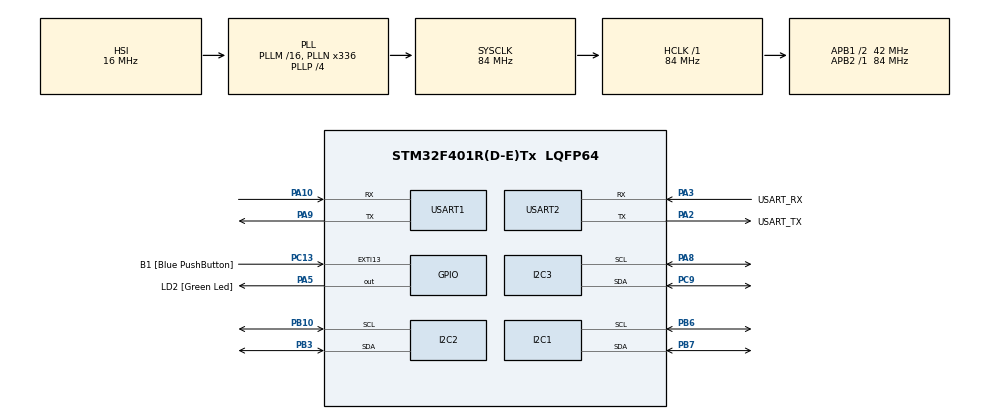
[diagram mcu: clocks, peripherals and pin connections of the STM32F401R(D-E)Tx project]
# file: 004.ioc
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Mcu.Family=STM32F4
Mcu.Name=STM32F401R(D-E)Tx
Mcu.Package=LQFP64
NVIC.PriorityGroup=NVIC_PRIORITYGROUP_4
NVIC.TIM1_BRK_TIM9_IRQn=true\:1\:0\:true\:false\:true\:true\:true\:true
NVIC.TIM1_CC_IRQn=true\:1\:0\:true\:false\:true\:true\:true\:true
NVIC.TIM1_TRG_COM_TIM11_IRQn=true\:1\:0\:true\:false\:true\:true\:true\:true
NVIC.TIM1_UP_TIM10_IRQn=true\:1\:0\:true\:false\:true\:true\:true\:true
NVIC.TIM2_IRQn=true\:1\:0\:true\:false\:true\:true\:true\:true
NVIC.TIM3_IRQn=true\:1\:0\:true\:false\:true\:true\:true\:true
NVIC.TIM4_IRQn=true\:1\:0\:true\:false\:true\:true\:true\:true
NVIC.USART1_IRQn=true\:0\:0\:false\:false\:true\:true\:true\:true
PA10.Mode=Asynchronous
PA10.Signal=USART1_RX
PA13.GPIO_Label=TMS
PA13.Mode=Serial_Wire
PA13.Signal=SYS_JTMS-SWDIO
PA14.GPIO_Label=TCK
PA14.Mode=Serial_Wire
PA14.Signal=SYS_JTCK-SWCLK
PA2.GPIO_Label=USART_TX
PA2.GPIO_Mode=GPIO_MODE_AF_PP
PA2.GPIO_PuPd=GPIO_NOPULL
PA2.GPIO_Speed=GPIO_SPEED_FREQ_LOW
PA2.Mode=Asynchronous
PA2.Signal=USART2_TX
PA3.GPIO_Label=USART_RX
PA3.GPIO_Mode=GPIO_MODE_AF_PP
PA3.GPIO_PuPd=GPIO_NOPULL
PA3.GPIO_Speed=GPIO_SPEED_FREQ_LOW
PA3.Mode=Asynchronous
PA3.Signal=USART2_RX
PA5.GPIO_Label=LD2 [Green Led]
PA5.GPIO_Mode=GPIO_MODE_OUTPUT_PP
PA5.GPIO_PuPd=GPIO_NOPULL
PA5.GPIO_Speed=GPIO_SPEED_FREQ_LOW
PA5.Signal=GPIO_Output
PA8.Mode=I2C
PA8.Signal=I2C3_SCL
PA9.Mode=Asynchronous
PA9.Signal=USART1_TX
PB10.Mode=I2C
PB10.Signal=I2C2_SCL
PB3.Mode=I2C
PB3.Signal=I2C2_SDA
PB6.Mode=I2C
PB6.Signal=I2C1_SCL
PB7.Mode=I2C
PB7.Signal=I2C1_SDA
PC13-ANTI_TAMP.GPIO_Label=B1 [Blue PushButton]
PC13-ANTI_TAMP.GPIO_ModeDefaultEXTI=GPIO_MODE_IT_FALLING
PC13-ANTI_TAMP.GPIO_PuPd=GPIO_NOPULL
PC13-ANTI_TAMP.Signal=GPXTI13
PC14-OSC32_IN.Mode=LSE-External-Oscillator
PC14-OSC32_IN.Signal=RCC_OSC32_IN
PC15-OSC32_OUT.Mode=LSE-External-Oscillator
PC15-OSC32_OUT.Signal=RCC_OSC32_OUT
PC9.Mode=I2C
PC9.Signal=I2C3_SDA
PH0\ -\ OSC_IN.Mode=HSE-External-Clock-Source
PH0\ -\ OSC_IN.Signal=RCC_OSC_IN
PH1\ -\ OSC_OUT.Mode=HSE-External-Clock-Source
PH1\ -\ OSC_OUT.Signal=RCC_OSC_OUT
ProjectManager.HeapSize=0x200
ProjectManager.StackSize=0x400
ProjectManager.TargetToolchain=STM32CubeIDE
RCC.48MHZClocksFreq_Value=48000000
RCC.AHBFreq_Value=84000000
RCC.APB1CLKDivider=RCC_HCLK_DIV2
RCC.APB1Freq_Value=42000000
RCC.APB1TimFreq_Value=84000000
RCC.APB2Freq_Value=84000000
RCC.APB2TimFreq_Value=84000000
RCC.CortexFreq_Value=84000000
RCC.HCLKFreq_Value=84000000
RCC.HSE_VALUE=8000000
RCC.HSI_VALUE=16000000
RCC.PLLN=336
RCC.PLLP=RCC_PLLP_DIV4
RCC.PLLQ=7
RCC.SYSCLKFreq_VALUE=84000000
RCC.SYSCLKSource=RCC_SYSCLKSOURCE_PLLCLK
RCC.VCOOutputFreq_Value=336000000
TIM1.AutoReloadPreload=TIM_AUTORELOAD_PRELOAD_ENABLE
TIM1.Period=5999
TIM1.Prescaler=42000
TIM2.AutoReloadPreload=TIM_AUTORELOAD_PRELOAD_ENABLE
TIM2.Period=999
TIM2.Prescaler=42000
TIM3.AutoReloadPreload=TIM_AUTORELOAD_PRELOAD_ENABLE
TIM3.Period=9999
TIM3.Prescaler=42000
TIM4.AutoReloadPreload=TIM_AUTORELOAD_PRELOAD_ENABLE
TIM4.Period=1999
TIM4.Prescaler=42000
USART1.VirtualMode=VM_ASYNC
USART2.VirtualMode=VM_ASYNC
VP_TIM1_VS_ClockSourceINT.Mode=Internal
VP_TIM2_VS_ClockSourceINT.Mode=Internal
VP_TIM3_VS_ClockSourceINT.Mode=Internal
VP_TIM4_VS_ClockSourceINT.Mode=Internal
board=NUCLEO-F401RE

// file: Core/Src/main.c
/* USER CODE BEGIN Header */
/**
  ******************************************************************************
  * @file           : main.c
  * @brief          : Main program body
  ******************************************************************************
  * @attention
  *
  * Copyright (c) 2025 STMicroelectronics.
  * All rights reserved.
  *
  * This software is licensed under terms that can be found in the LICENSE file
  * in the root directory of this software component.
  * If no LICENSE file comes with this software, it is provided AS-IS.
  *
  ******************************************************************************
  */
/* USER CODE END Header */
#include "main.h"

/* USER CODE BEGIN Includes */
#include <stdbool.h>
#include <task_type.h>
#include "stdio.h"
#include "LCD_I2C.h"
#include "I2C_DS3231.h"
#include "sht2x_for_stm32_hal.h"
#include "print_cli.h"
#include "queue.h"
#include "uart.h"
/* USER CODE END Includes */

/* USER CODE BEGIN PM */
#define MAX_TASKS 5
/* USER CODE END PM */

I2C_HandleTypeDef hi2c1;
I2C_HandleTypeDef hi2c2;
I2C_HandleTypeDef hi2c3;

TIM_HandleTypeDef htim1;
TIM_HandleTypeDef htim2;
TIM_HandleTypeDef htim3;
TIM_HandleTypeDef htim4;

UART_HandleTypeDef huart1;
UART_HandleTypeDef huart2;

/* USER CODE BEGIN PV */
DateTime date_time;
CLCD_I2C_Name LCD1;
/* USER CODE END PV */

void SystemClock_Config(void);
static void MX_GPIO_Init(void);
static void MX_USART2_UART_Init(void);
static void MX_TIM1_Init(void);
static void MX_TIM2_Init(void);
static void MX_TIM3_Init(void);
static void MX_TIM4_Init(void);
static void MX_USART1_UART_Init(void);
static void MX_I2C1_Init(void);
static void MX_I2C3_Init(void);
static void MX_I2C2_Init(void);
/* USER CODE BEGIN PFP */
void update_parameter_to_display(char *a , float b);
void display_lcd();
void send_uart();
void read_time();
void read_temp_and_hum();
void function_handle();
/* USER CODE END PFP */

/* USER CODE BEGIN 0 */
char Time[9]     = "  :  :  ";
char Calendar[11] = "  /  /20  ";

char c_temperature[5];
float f_temperature = 0;

char c_humidity[5];
float f_humidity = 0;

EventQueue event_queue;

void handle_event(EventType event) {
	float currentTime;
    switch (event) {
		case EVENT_TIMER1:
			currentTime = HAL_GetTick()/1000.f ;
			print_cli("The time run task 1 - read_temp_and_hum() : %.3fs\n", currentTime );
			read_temp_and_hum();
			break;
        case EVENT_TIMER2:
			currentTime = HAL_GetTick()/1000.f ;
			print_cli("The time run task 2 - read_time() : %.3fs\n", currentTime );
            read_time();
            break;
        case EVENT_TIMER3:
			currentTime = HAL_GetTick()/1000.f ;
			print_cli("The time run task 3 - send_uart() : %.3fs\n", currentTime );
            send_uart();
            break;
        case EVENT_TIMER4:
			currentTime = HAL_GetTick()/1000.f ;
			print_cli("The time run task 4 - display_lcd() : %.3fs\n", currentTime );
            display_lcd();
            break;
        default:
            break;
    }
}

void HAL_TIM_PeriodElapsedCallback(TIM_HandleTypeDef *htim){
	//uint32_t currentTime;
	if(htim == &htim1){
		//currentTime = HAL_GetTick()/1000 ;
		enqueue_event(&event_queue, EVENT_TIMER1);
		//print_cli("task 1 vao hang doi - %us\n",currentTime);
	}
	else if(htim == &htim2){
		//currentTime = HAL_GetTick()/1000 ;
		enqueue_event(&event_queue, EVENT_TIMER2);
		//print_cli("task 2 vao hang doi- %us\n",currentTime);
	}
	else if(htim == &htim3){
		//currentTime = HAL_GetTick()/1000 ;
		enqueue_event(&event_queue, EVENT_TIMER3);
		//print_cli("task 3 vao hang doi- %us\n",currentTime);
	}
	else if(htim == &htim4){
		//currentTime = HAL_GetTick()/1000 ;
		enqueue_event(&event_queue , EVENT_TIMER4);
		//print_cli("task 4 vao hang doi- %us\n",currentTime);
	}
}
/* USER CODE END 0 */

int main(void)
{

  /* MCU Configuration--------------------------------------------------------*/

  /* Reset of all peripherals, Initializes the Flash interface and the Systick. */
  HAL_Init();

  /* Configure the system clock */
  SystemClock_Config();

  /* Initialize all configured peripherals */
  MX_GPIO_Init();
  MX_USART2_UART_Init();
  MX_TIM1_Init();
  MX_TIM2_Init();
  MX_TIM3_Init();
  MX_TIM4_Init();
  MX_USART1_UART_Init();
  MX_I2C1_Init();
  MX_I2C3_Init();
  MX_I2C2_Init();
  /* USER CODE BEGIN 2 */
  HAL_TIM_Base_Start_IT(&htim1);
  HAL_TIM_Base_Start_IT(&htim2);
  HAL_TIM_Base_Start_IT(&htim3);
  HAL_TIM_Base_Start_IT(&htim4);
  // init LCD use I2C2

  CLCD_I2C_Init(&LCD1,&hi2c2,0x4e,20,4);

  // init SHT21 use I2C1
  SHT2x_Init(&hi2c1);
  SHT2x_SetResolution(RES_14_12);

  //init DS3231 use I2C3
  rtc_init(&hi2c3);

  CLCD_I2C_SetCursor(&LCD1, 10, 0);
  CLCD_I2C_WriteString(&LCD1, "t:");

  CLCD_I2C_SetCursor(&LCD1, 10, 1);
  CLCD_I2C_WriteString(&LCD1, "h:");

  // init time for rtc . It just sould run once time.
	date_time.hour =14;
    date_time.min =02;
	date_time.sec =30;
	date_time.day =4;
	date_time.date =22;
	date_time.mon =1;
	date_time.year =25;

	//rtc_write_time(&date_time);

	// init queue
	init_event_queue(&event_queue);

	//init uart handel
	uart_init(&huart1);

//	float excute_time = 0;
//	uint32_t start_tick = HAL_GetTick();
//	display_lcd();
//	uint32_t end_tick = HAL_GetTick();
//	excute_time = (end_tick - start_tick) / 1000.f;
//	print_cli("%.3f--\n",excute_time);

	EventType event;
  /* USER CODE END 2 */

  /* Infinite loop */
  while (1)
  {

    /* USER CODE BEGIN 3 */
	          if (dequeue_event(&event_queue, &event)) {
	        	  handle_event(event);
	          }
	          uart_handel();
  }
  /* USER CODE END 3 */
}

void SystemClock_Config(void)
{
  RCC_OscInitTypeDef RCC_OscInitStruct = {0};
  RCC_ClkInitTypeDef RCC_ClkInitStruct = {0};

  /** Configure the main internal regulator output voltage
  */
  __HAL_RCC_PWR_CLK_ENABLE();
  __HAL_PWR_VOLTAGESCALING_CONFIG(PWR_REGULATOR_VOLTAGE_SCALE2);

  /** Initializes the RCC Oscillators according to the specified parameters
  * in the RCC_OscInitTypeDef structure.
  */
  RCC_OscInitStruct.OscillatorType = RCC_OSCILLATORTYPE_HSI;
  RCC_OscInitStruct.HSIState = RCC_HSI_ON;
  RCC_OscInitStruct.HSICalibrationValue = RCC_HSICALIBRATION_DEFAULT;
  RCC_OscInitStruct.PLL.PLLState = RCC_PLL_ON;
  RCC_OscInitStruct.PLL.PLLSource = RCC_PLLSOURCE_HSI;
  RCC_OscInitStruct.PLL.PLLM = 16;
  RCC_OscInitStruct.PLL.PLLN = 336;
  RCC_OscInitStruct.PLL.PLLP = RCC_PLLP_DIV4;
  RCC_OscInitStruct.PLL.PLLQ = 7;
  if (HAL_RCC_OscConfig(&RCC_OscInitStruct) != HAL_OK)
  {
    Error_Handler();
  }

  /** Initializes the CPU, AHB and APB buses clocks
  */
  RCC_ClkInitStruct.ClockType = RCC_CLOCKTYPE_HCLK|RCC_CLOCKTYPE_SYSCLK
                              |RCC_CLOCKTYPE_PCLK1|RCC_CLOCKTYPE_PCLK2;
  RCC_ClkInitStruct.SYSCLKSource = RCC_SYSCLKSOURCE_PLLCLK;
  RCC_ClkInitStruct.AHBCLKDivider = RCC_SYSCLK_DIV1;
  RCC_ClkInitStruct.APB1CLKDivider = RCC_HCLK_DIV2;
  RCC_ClkInitStruct.APB2CLKDivider = RCC_HCLK_DIV1;

  if (HAL_RCC_ClockConfig(&RCC_ClkInitStruct, FLASH_LATENCY_2) != HAL_OK)
  {
    Error_Handler();
  }
}

static void MX_I2C1_Init(void)
{

  hi2c1.Instance = I2C1;
  hi2c1.Init.ClockSpeed = 100000;
  hi2c1.Init.DutyCycle = I2C_DUTYCYCLE_2;
  hi2c1.Init.OwnAddress1 = 0;
  hi2c1.Init.AddressingMode = I2C_ADDRESSINGMODE_7BIT;
  hi2c1.Init.DualAddressMode = I2C_DUALADDRESS_DISABLE;
  hi2c1.Init.OwnAddress2 = 0;
  hi2c1.Init.GeneralCallMode = I2C_GENERALCALL_DISABLE;
  hi2c1.Init.NoStretchMode = I2C_NOSTRETCH_DISABLE;
  if (HAL_I2C_Init(&hi2c1) != HAL_OK)
  {
    Error_Handler();
  }

}

static void MX_I2C2_Init(void)
{

  hi2c2.Instance = I2C2;
  hi2c2.Init.ClockSpeed = 100000;
  hi2c2.Init.DutyCycle = I2C_DUTYCYCLE_2;
  hi2c2.Init.OwnAddress1 = 0;
  hi2c2.Init.AddressingMode = I2C_ADDRESSINGMODE_7BIT;
  hi2c2.Init.DualAddressMode = I2C_DUALADDRESS_DISABLE;
  hi2c2.Init.OwnAddress2 = 0;
  hi2c2.Init.GeneralCallMode = I2C_GENERALCALL_DISABLE;
  hi2c2.Init.NoStretchMode = I2C_NOSTRETCH_DISABLE;
  if (HAL_I2C_Init(&hi2c2) != HAL_OK)
  {
    Error_Handler();
  }

}

static void MX_I2C3_Init(void)
{

  hi2c3.Instance = I2C3;
  hi2c3.Init.ClockSpeed = 100000;
  hi2c3.Init.DutyCycle = I2C_DUTYCYCLE_2;
  hi2c3.Init.OwnAddress1 = 0;
  hi2c3.Init.AddressingMode = I2C_ADDRESSINGMODE_7BIT;
  hi2c3.Init.DualAddressMode = I2C_DUALADDRESS_DISABLE;
  hi2c3.Init.OwnAddress2 = 0;
  hi2c3.Init.GeneralCallMode = I2C_GENERALCALL_DISABLE;
  hi2c3.Init.NoStretchMode = I2C_NOSTRETCH_DISABLE;
  if (HAL_I2C_Init(&hi2c3) != HAL_OK)
  {
    Error_Handler();
  }

}

static void MX_TIM1_Init(void)
{

  TIM_ClockConfigTypeDef sClockSourceConfig = {0};
  TIM_MasterConfigTypeDef sMasterConfig = {0};

  htim1.Instance = TIM1;
  htim1.Init.Prescaler = 42000;
  htim1.Init.CounterMode = TIM_COUNTERMODE_UP;
  htim1.Init.Period = 5999;
  htim1.Init.ClockDivision = TIM_CLOCKDIVISION_DIV1;
  htim1.Init.RepetitionCounter = 0;
  htim1.Init.AutoReloadPreload = TIM_AUTORELOAD_PRELOAD_ENABLE;
  if (HAL_TIM_Base_Init(&htim1) != HAL_OK)
  {
    Error_Handler();
  }
  sClockSourceConfig.ClockSource = TIM_CLOCKSOURCE_INTERNAL;
  if (HAL_TIM_ConfigClockSource(&htim1, &sClockSourceConfig) != HAL_OK)
  {
    Error_Handler();
  }
  sMasterConfig.MasterOutputTrigger = TIM_TRGO_RESET;
  sMasterConfig.MasterSlaveMode = TIM_MASTERSLAVEMODE_DISABLE;
  if (HAL_TIMEx_MasterConfigSynchronization(&htim1, &sMasterConfig) != HAL_OK)
  {
    Error_Handler();
  }

}

static void MX_TIM2_Init(void)
{

  TIM_ClockConfigTypeDef sClockSourceConfig = {0};
  TIM_MasterConfigTypeDef sMasterConfig = {0};

  htim2.Instance = TIM2;
  htim2.Init.Prescaler = 42000;
  htim2.Init.CounterMode = TIM_COUNTERMODE_UP;
  htim2.Init.Period = 999;
  htim2.Init.ClockDivision = TIM_CLOCKDIVISION_DIV1;
  htim2.Init.AutoReloadPreload = TIM_AUTORELOAD_PRELOAD_ENABLE;
  if (HAL_TIM_Base_Init(&htim2) != HAL_OK)
  {
    Error_Handler();
  }
  sClockSourceConfig.ClockSource = TIM_CLOCKSOURCE_INTERNAL;
  if (HAL_TIM_ConfigClockSource(&htim2, &sClockSourceConfig) != HAL_OK)
  {
    Error_Handler();
  }
  sMasterConfig.MasterOutputTrigger = TIM_TRGO_RESET;
  sMasterConfig.MasterSlaveMode = TIM_MASTERSLAVEMODE_DISABLE;
  if (HAL_TIMEx_MasterConfigSynchronization(&htim2, &sMasterConfig) != HAL_OK)
  {
    Error_Handler();
  }

}

static void MX_TIM3_Init(void)
{

  TIM_ClockConfigTypeDef sClockSourceConfig = {0};
  TIM_MasterConfigTypeDef sMasterConfig = {0};

  htim3.Instance = TIM3;
  htim3.Init.Prescaler = 42000;
  htim3.Init.CounterMode = TIM_COUNTERMODE_UP;
  htim3.Init.Period = 9999;
  htim3.Init.ClockDivision = TIM_CLOCKDIVISION_DIV1;
  htim3.Init.AutoReloadPreload = TIM_AUTORELOAD_PRELOAD_ENABLE;
  if (HAL_TIM_Base_Init(&htim3) != HAL_OK)
  {
    Error_Handler();
  }
  sClockSourceConfig.ClockSource = TIM_CLOCKSOURCE_INTERNAL;
  if (HAL_TIM_ConfigClockSource(&htim3, &sClockSourceConfig) != HAL_OK)
  {
    Error_Handler();
  }
  sMasterConfig.MasterOutputTrigger = TIM_TRGO_RESET;
  sMasterConfig.MasterSlaveMode = TIM_MASTERSLAVEMODE_DISABLE;
  if (HAL_TIMEx_MasterConfigSynchronization(&htim3, &sMasterConfig) != HAL_OK)
  {
    Error_Handler();
  }

}

static void MX_TIM4_Init(void)
{

  TIM_ClockConfigTypeDef sClockSourceConfig = {0};
  TIM_MasterConfigTypeDef sMasterConfig = {0};

  htim4.Instance = TIM4;
  htim4.Init.Prescaler = 42000;
  htim4.Init.CounterMode = TIM_COUNTERMODE_UP;
  htim4.Init.Period = 1999;
  htim4.Init.ClockDivision = TIM_CLOCKDIVISION_DIV1;
  htim4.Init.AutoReloadPreload = TIM_AUTORELOAD_PRELOAD_ENABLE;
  if (HAL_TIM_Base_Init(&htim4) != HAL_OK)
  {
    Error_Handler();
  }
  sClockSourceConfig.ClockSource = TIM_CLOCKSOURCE_INTERNAL;
  if (HAL_TIM_ConfigClockSource(&htim4, &sClockSourceConfig) != HAL_OK)
  {
    Error_Handler();
  }
  sMasterConfig.MasterOutputTrigger = TIM_TRGO_RESET;
  sMasterConfig.MasterSlaveMode = TIM_MASTERSLAVEMODE_DISABLE;
  if (HAL_TIMEx_MasterConfigSynchronization(&htim4, &sMasterConfig) != HAL_OK)
  {
    Error_Handler();
  }

}

static void MX_USART1_UART_Init(void)
{

  huart1.Instance = USART1;
  huart1.Init.BaudRate = 115200;
  huart1.Init.WordLength = UART_WORDLENGTH_8B;
  huart1.Init.StopBits = UART_STOPBITS_1;
  huart1.Init.Parity = UART_PARITY_NONE;
  huart1.Init.Mode = UART_MODE_TX_RX;
  huart1.Init.HwFlowCtl = UART_HWCONTROL_NONE;
  huart1.Init.OverSampling = UART_OVERSAMPLING_16;
  if (HAL_UART_Init(&huart1) != HAL_OK)
  {
    Error_Handler();
  }

}

static void MX_USART2_UART_Init(void)
{

  huart2.Instance = USART2;
  huart2.Init.BaudRate = 115200;
  huart2.Init.WordLength = UART_WORDLENGTH_8B;
  huart2.Init.StopBits = UART_STOPBITS_1;
  huart2.Init.Parity = UART_PARITY_NONE;
  huart2.Init.Mode = UART_MODE_TX_RX;
  huart2.Init.HwFlowCtl = UART_HWCONTROL_NONE;
  huart2.Init.OverSampling = UART_OVERSAMPLING_16;
  if (HAL_UART_Init(&huart2) != HAL_OK)
  {
    Error_Handler();
  }

}

static void MX_GPIO_Init(void)
{
  GPIO_InitTypeDef GPIO_InitStruct = {0};

  /* GPIO Ports Clock Enable */
  __HAL_RCC_GPIOC_CLK_ENABLE();
  __HAL_RCC_GPIOH_CLK_ENABLE();
  __HAL_RCC_GPIOA_CLK_ENABLE();
  __HAL_RCC_GPIOB_CLK_ENABLE();

  /*Configure GPIO pin Output Level */
  HAL_GPIO_WritePin(LD2_GPIO_Port, LD2_Pin, GPIO_PIN_RESET);

  /*Configure GPIO pin : B1_Pin */
  GPIO_InitStruct.Pin = B1_Pin;
  GPIO_InitStruct.Mode = GPIO_MODE_IT_FALLING;
  GPIO_InitStruct.Pull = GPIO_NOPULL;
  HAL_GPIO_Init(B1_GPIO_Port, &GPIO_InitStruct);

  /*Configure GPIO pin : LD2_Pin */
  GPIO_InitStruct.Pin = LD2_Pin;
  GPIO_InitStruct.Mode = GPIO_MODE_OUTPUT_PP;
  GPIO_InitStruct.Pull = GPIO_NOPULL;
  GPIO_InitStruct.Speed = GPIO_SPEED_FREQ_LOW;
  HAL_GPIO_Init(LD2_GPIO_Port, &GPIO_InitStruct);

}

/* USER CODE BEGIN 4 */
void display_lcd(){
  Time[7]     = date_time.sec % 10 + 48; // + 48 because convert from int to char
  Time[6]     = date_time.sec / 10 + 48;
  Time[4]     = date_time.min % 10 + 48;
  Time[3]     = date_time.min / 10 + 48;
  Time[1]     = date_time.hour   % 10 + 48;
  Time[0]     = date_time.hour   / 10 + 48;
  Time[8]	  = '\0';
  Calendar[9] = date_time.year   % 10 + 48;
  Calendar[8] = date_time.year   / 10 + 48;
  Calendar[4] = date_time.mon  % 10 + 48;
  Calendar[3] = date_time.mon  / 10 + 48;
  Calendar[1] = date_time.date   % 10 + 48;
  Calendar[0] = date_time.date   / 10 + 48;
  Calendar[10]= '\0';
  CLCD_I2C_SetCursor(&LCD1, 0, 0);
  CLCD_I2C_WriteString(&LCD1,Time);

  CLCD_I2C_SetCursor(&LCD1, 0, 1);
  CLCD_I2C_WriteString(&LCD1,Calendar);

  update_parameter_to_display(c_humidity,f_humidity);
  CLCD_I2C_SetCursor(&LCD1, 12, 1);
  CLCD_I2C_WriteString(&LCD1, c_humidity);

  update_parameter_to_display(c_temperature,f_temperature);
  CLCD_I2C_SetCursor(&LCD1, 12, 0);
  CLCD_I2C_WriteString(&LCD1, c_temperature);
}

void update_parameter_to_display(char *a , float b) {
    // update from float to char
    sprintf(a, "%.1f", b);
}
void send_uart(){
	print_cli("time: %s calendar: %s temperature: %.1f humidity: %.1f\n",Time,Calendar,f_temperature,f_humidity);
}

void read_time(){
	rtc_read_time(&date_time);
}

void read_temp_and_hum(){
	//float perious = HAL_GetTick()/1000.f;
    f_temperature = SHT2x_GetTemperature(1);
    f_humidity = SHT2x_GetRelativeHumidity(1);
    //float current =
    //current_time = HAL_GetTick() - current_time;
}

/* USER CODE END 4 */

void Error_Handler(void)
{
  __disable_irq();
  while (1)
  {
  }
}
